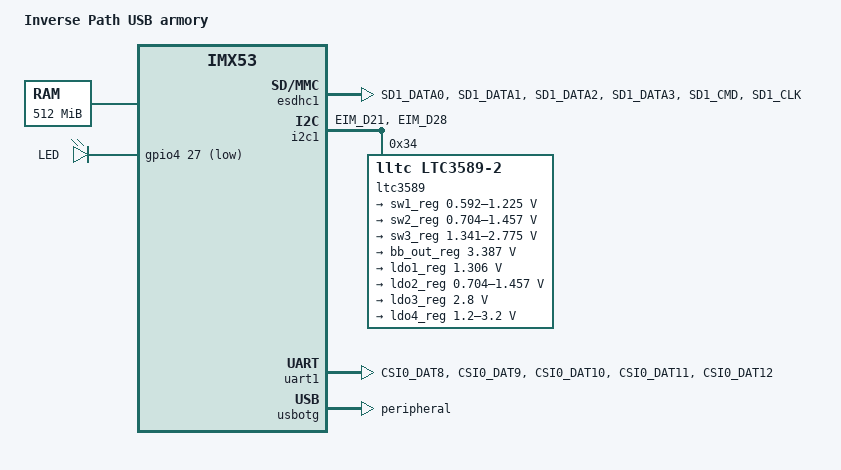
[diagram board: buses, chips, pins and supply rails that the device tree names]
/*
 * USB armory MkI device tree file
 * https://inversepath.com/usbarmory
 *
 * Copyright (C) 2015, Inverse Path
 * Andrej Rosano <andrej@inversepath.com>
 *
 * This file is dual-licensed: you can use it either under the terms
 * of the GPL or the X11 license, at your option. Note that this dual
 * licensing only applies to this file, and not this project as a
 * whole.
 *
 *  a) This file is free software; you can redistribute it and/or
 *     modify it under the terms of the GNU General Public License as
 *     published by the Free Software Foundation; either version 2 of the
 *     License, or (at your option) any later version.
 *
 *     This file is distributed in the hope that it will be useful,
 *     but WITHOUT ANY WARRANTY; without even the implied warranty of
 *     MERCHANTABILITY or FITNESS FOR A PARTICULAR PURPOSE.  See the
 *     GNU General Public License for more details.
 *
 * Or, alternatively,
 *
 *  b) Permission is hereby granted, free of charge, to any person
 *     obtaining a copy of this software and associated documentation
 *     files (the "Software"), to deal in the Software without
 *     restriction, including without limitation the rights to use,
 *     copy, modify, merge, publish, distribute, sublicense, and/or
 *     sell copies of the Software, and to permit persons to whom the
 *     Software is furnished to do so, subject to the following
 *     conditions:
 *
 *     The above copyright notice and this permission notice shall be
 *     included in all copies or substantial portions of the Software.
 *
 *     THE SOFTWARE IS PROVIDED "AS IS", WITHOUT WARRANTY OF ANY KIND,
 *     EXPRESS OR IMPLIED, INCLUDING BUT NOT LIMITED TO THE WARRANTIES
 *     OF MERCHANTABILITY, FITNESS FOR A PARTICULAR PURPOSE AND
 *     NONINFRINGEMENT. IN NO EVENT SHALL THE AUTHORS OR COPYRIGHT
 *     HOLDERS BE LIABLE FOR ANY CLAIM, DAMAGES OR OTHER LIABILITY,
 *     WHETHER IN AN ACTION OF CONTRACT, TORT OR OTHERWISE, ARISING
 *     FROM, OUT OF OR IN CONNECTION WITH THE SOFTWARE OR THE USE OR
 *     OTHER DEALINGS IN THE SOFTWARE.
 */

/dts-v1/;
#include "imx53.dtsi"

/ {
	model = "Inverse Path USB armory";
	compatible = "inversepath,imx53-usbarmory", "fsl,imx53";
};

/ {
	chosen {
		stdout-path = &uart1;
	};

	memory@70000000 {
		device_type = "memory";
		reg = <0x70000000 0x20000000>;
	};

	leds {
		compatible = "gpio-leds";
		pinctrl-names = "default";
		pinctrl-0 = <&pinctrl_led>;

		user {
			label = "LED";
			gpios = <&gpio4 27 GPIO_ACTIVE_LOW>;
			linux,default-trigger = "heartbeat";
		};
	};
};

/*
 * Not every i.MX53 P/N supports clock > 800MHz.
 * As USB armory does not mount a specific P/N set a safe clock upper limit.
 */
&cpu0 {
	operating-points = <
		/* kHz */
		166666  850000
		400000  900000
		800000 1050000
	>;
};

&esdhc1 {
	pinctrl-names = "default";
	pinctrl-0 = <&pinctrl_esdhc1>;
	status = "okay";
};

&iomuxc {
	pinctrl_esdhc1: esdhc1grp {
		fsl,pins = <
			MX53_PAD_SD1_DATA0__ESDHC1_DAT0		0x1d5
			MX53_PAD_SD1_DATA1__ESDHC1_DAT1		0x1d5
			MX53_PAD_SD1_DATA2__ESDHC1_DAT2		0x1d5
			MX53_PAD_SD1_DATA3__ESDHC1_DAT3		0x1d5
			MX53_PAD_SD1_CMD__ESDHC1_CMD		0x1d5
			MX53_PAD_SD1_CLK__ESDHC1_CLK		0x1d5
		>;
	};

	pinctrl_i2c1_pmic: i2c1grp {
		fsl,pins = <
			MX53_PAD_EIM_D21__I2C1_SCL	0x80
			MX53_PAD_EIM_D28__I2C1_SDA	0x80
		>;
	};

	pinctrl_led: ledgrp {
		fsl,pins = <
			MX53_PAD_DISP0_DAT6__GPIO4_27 0x1e4
		>;
	};

	/*
	 * UART mode pin header configration
	 * 3 - GPIO5[26], pull-down 100K
	 * 4 - GPIO5[27], pull-down 100K
	 * 5 - TX, pull-up 100K
	 * 6 - RX, pull-up 100K
	 * 7 - GPIO5[30], pull-down 100K
	 */
	pinctrl_uart1: uart1grp {
		fsl,pins = <
			MX53_PAD_CSI0_DAT8__GPIO5_26		0xc0
			MX53_PAD_CSI0_DAT9__GPIO5_27		0xc0
			MX53_PAD_CSI0_DAT10__UART1_TXD_MUX	0x1e4
			MX53_PAD_CSI0_DAT11__UART1_RXD_MUX	0x1e4
			MX53_PAD_CSI0_DAT12__GPIO5_30		0xc0
		>;
	};
};

&i2c1 {
	pinctrl-0 = <&pinctrl_i2c1_pmic>;
	status = "okay";

	ltc3589: pmic@34 {
		compatible = "lltc,ltc3589-2";
		reg = <0x34>;

		regulators {
			sw1_reg: sw1 {
				regulator-min-microvolt = <591930>;
				regulator-max-microvolt = <1224671>;
				lltc,fb-voltage-divider = <100000 158000>;
				regulator-ramp-delay = <7000>;
				regulator-boot-on;
				regulator-always-on;
			};

			sw2_reg: sw2 {
				regulator-min-microvolt = <704123>;
				regulator-max-microvolt = <1456803>;
				lltc,fb-voltage-divider = <180000 191000>;
				regulator-ramp-delay = <7000>;
				regulator-boot-on;
				regulator-always-on;
			};

			sw3_reg: sw3 {
				regulator-min-microvolt = <1341250>;
				regulator-max-microvolt = <2775000>;
				lltc,fb-voltage-divider = <270000 100000>;
				regulator-ramp-delay = <7000>;
				regulator-boot-on;
				regulator-always-on;
			};

			bb_out_reg: bb-out {
				regulator-min-microvolt = <3387341>;
				regulator-max-microvolt = <3387341>;
				lltc,fb-voltage-divider = <511000 158000>;
				regulator-boot-on;
				regulator-always-on;
			};

			ldo1_reg: ldo1 {
				regulator-min-microvolt = <1306329>;
				regulator-max-microvolt = <1306329>;
				lltc,fb-voltage-divider = <100000 158000>;
				regulator-boot-on;
				regulator-always-on;
			};

			ldo2_reg: ldo2 {
				regulator-min-microvolt = <704123>;
				regulator-max-microvolt = <1456806>;
				lltc,fb-voltage-divider = <180000 191000>;
				regulator-ramp-delay = <7000>;
				regulator-boot-on;
				regulator-always-on;
			};

			ldo3_reg: ldo3 {
				regulator-min-microvolt = <2800000>;
				regulator-max-microvolt = <2800000>;
				regulator-boot-on;
			};

			ldo4_reg: ldo4 {
				regulator-min-microvolt = <1200000>;
				regulator-max-microvolt = <3200000>;
			};
		};
	};
};

&uart1 {
	pinctrl-names = "default";
	pinctrl-0 = <&pinctrl_uart1>;
	status = "okay";
};

&usbotg {
	dr_mode = "peripheral";
	status = "okay";
};
